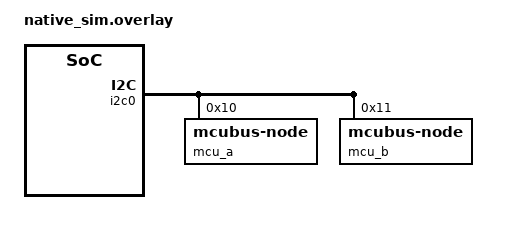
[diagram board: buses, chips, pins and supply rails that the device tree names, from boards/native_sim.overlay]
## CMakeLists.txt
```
# Copyright (c) 2026 Christoph Jans <jans.christoph@gmail.com>
# SPDX-License-Identifier: Apache-2.0

cmake_minimum_required(VERSION 3.20.0)

# One image per MCU: NODE picks the node of boards/native_sim.overlay this image is
set(NODE a CACHE STRING "MCU to build: a or b")
list(APPEND DTS_EXTRA_CPPFLAGS -DMCUBUS_SELF_LABEL=mcu_${NODE})

find_package(Zephyr REQUIRED HINTS $ENV{ZEPHYR_BASE})
project(mcubus_settings)

target_sources(app PRIVATE src/main.c)
```

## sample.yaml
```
# Copyright (c) 2026 Christoph Jans <jans.christoph@gmail.com>
# SPDX-License-Identifier: Apache-2.0

sample:
  name: Settings over the mcubus
common:
  platform_allow:
    - native_sim
  integration_platforms:
    - native_sim
  tags:
    - i2c
    - settings
tests:
  # MCU a, started by twister; pytest/test_settings.py starts b next to it
  sample.mcubus.settings:
    extra_args: NODE=a
    harness: pytest
    required_applications:
      - name: sample.mcubus.settings.node_b
  sample.mcubus.settings.node_b:
    extra_args: NODE=b
    build_only: true
```

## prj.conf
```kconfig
# Copyright (c) 2026 Christoph Jans <jans.christoph@gmail.com>
# SPDX-License-Identifier: Apache-2.0

# CONFIG_MCUBUS and the bus port come with the devicetree
CONFIG_I2C=y
CONFIG_LOG=y
CONFIG_LOG_BACKEND_SHOW_COLOR=n

# Settings in NVS
CONFIG_FLASH=y
CONFIG_FLASH_MAP=y
CONFIG_NVS=y
CONFIG_SETTINGS=y
CONFIG_SETTINGS_NVS=y
CONFIG_MCUBUS_SETTINGS=y
CONFIG_MCUBUS_SETTINGS_VALUE_MAX=32
CONFIG_MAIN_STACK_SIZE=2048
CONFIG_SYSTEM_WORKQUEUE_STACK_SIZE=2048
CONFIG_NVS_LOG_LEVEL_WRN=y
```

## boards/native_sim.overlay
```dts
/*
 * Copyright (c) 2026 Christoph Jans <jans.christoph@gmail.com>
 *
 * SPDX-License-Identifier: Apache-2.0
 */

/* The bus on native_sim (zephyr,i2c-mm-emul); MCUBUS_SELF_LABEL is mcu_<NODE> */

/ {
	chosen {
		zephyr,mcubus-self = &MCUBUS_SELF_LABEL;
	};
};

&i2c0 {
	compatible = "zephyr,i2c-mm-emul";
	bus-id = <0>;

	mcu_a: mcu-a@10 {
		compatible = "zephyr,mcubus-node";
		reg = <0x10>;
	};

	mcu_b: mcu-b@11 {
		compatible = "zephyr,mcubus-node";
		reg = <0x11>;
	};
};
```

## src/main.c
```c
/*
 * Copyright (c) 2026 Christoph Jans <jans.christoph@gmail.com>
 *
 * SPDX-License-Identifier: Apache-2.0
 *
 * Settings over the mcubus: one MCU of two. It serves its settings (Zephyr
 * settings subsystem, subtree "mcu") to the other MCU, and gets and sets those
 * of the other one by name (mcubus/settings.h):
 *
 *   mcu/name       read-only   the devicetree node of the MCU
 *   mcu/greeting   read/write  any text, kept in flash
 */

#include <stdio.h>
#include <string.h>
#include <zephyr/kernel.h>
#include <zephyr/logging/log.h>
#include <zephyr/settings/settings.h>
#include <zephyr/spinlock.h>

#include <mcubus/mcubus.h>
#include <mcubus/ping.h>
#include <mcubus/settings.h>

LOG_MODULE_REGISTER(settings_sample, LOG_LEVEL_INF);

/*
 * The other MCU's requests run in the I2C target interrupt, and so do these
 * handlers: static, short, and the greeting under a spinlock
 */
static struct k_spinlock lock;
static char greeting[MCUBUS_SETTINGS_VALUE_MAX];
static size_t greeting_len;

static int mcu_get(const char *key, char *val, int val_len_max)
{
	int len = -ENOENT;

	if (settings_name_steq(key, "name", NULL)) {
		len = strlen(mcubus_name());
		memcpy(val, mcubus_name(), MIN(len, val_len_max));
	} else if (settings_name_steq(key, "greeting", NULL)) {
		K_SPINLOCK(&lock) {
			len = greeting_len;
			memcpy(val, greeting, MIN(len, val_len_max));
		}
	}
	return len;
}

static int mcu_set(const char *key, size_t len, settings_read_cb read_cb, void *cb_arg)
{
	char val[sizeof(greeting)];
	ssize_t ret;

	if (settings_name_steq(key, "name", NULL)) {
		return -EACCES;
	}
	if (!settings_name_steq(key, "greeting", NULL)) {
		return -ENOENT;
	}
	if (len > sizeof(val)) {
		return -EINVAL;
	}
	ret = read_cb(cb_arg, val, len);
	if (ret < 0) {
		return ret;
	}
	K_SPINLOCK(&lock) {
		memcpy(greeting, val, len);
		greeting_len = len;
	}
	return 0;
}

static int mcu_export(int (*export_func)(const char *name, const void *val, size_t val_len))
{
	char val[sizeof(greeting)];
	size_t len;

	K_SPINLOCK(&lock) {
		len = greeting_len;
		memcpy(val, greeting, len);
	}
	return len > 0 ? export_func("mcu/greeting", val, len) : 0;
}

SETTINGS_STATIC_HANDLER_DEFINE(mcu, "mcu", mcu_get, mcu_set, NULL, mcu_export);

#define ADDR(node) DT_REG_ADDR(node),
static const uint8_t mcus[] = {DT_FOREACH_STATUS_OKAY(zephyr_mcubus_node, ADDR)};

static uint8_t other_mcu(void)
{
	return mcus[0] != mcubus_addr() ? mcus[0] : mcus[1];
}

int main(void)
{
	uint8_t peer = other_mcu();
	struct mcubus_info info;
	char val[MCUBUS_SETTINGS_VALUE_MAX];
	char hi[MCUBUS_SETTINGS_VALUE_MAX];
	int len;
	int ret;

	BUILD_ASSERT(ARRAY_SIZE(mcus) == 2, "this sample is for two MCUs");

	ret = settings_subsys_init();
	if (ret == 0) {
		ret = settings_load();
	}
	if (ret) {
		LOG_ERR("cannot load the settings: %d", ret);
		return 0;
	}
	LOG_INF("%s at 0x%02x, greeting from flash: \"%.*s\"", mcubus_name(), mcubus_addr(),
		(int)greeting_len, greeting);

	ret = mcubus_ping_wait(peer, &info, K_SECONDS(5)); /* it may still be booting */
	if (ret) {
		LOG_ERR("no answer from 0x%02x: %d", peer, ret);
		return 0;
	}

	len = mcubus_settings_get(peer, "mcu/name", val, sizeof(val));
	if (len < 0) {
		LOG_ERR("get mcu/name of 0x%02x: %d", peer, len);
		return 0;
	}
	LOG_INF("0x%02x is %.*s", peer, MIN(len, (int)sizeof(val)), val);

	len = snprintf(hi, sizeof(hi), "hi from %s", mcubus_name());
	ret = mcubus_settings_set(peer, "mcu/greeting", hi, MIN(len, (int)sizeof(hi) - 1));
	if (ret) {
		LOG_ERR("set mcu/greeting of 0x%02x: %d", peer, ret);
		return 0;
	}

	len = mcubus_settings_get(peer, "mcu/greeting", val, sizeof(val));
	if (len < 0) {
		LOG_ERR("get mcu/greeting of 0x%02x: %d", peer, len);
		return 0;
	}
	LOG_INF("0x%02x mcu/greeting = \"%.*s\"", peer, MIN(len, (int)sizeof(val)), val);

	ret = mcubus_settings_set(peer, "mcu/name", "x", 1);
	LOG_INF("0x%02x mcu/name is read-only: %d", peer, ret);
	return 0;
}
```
